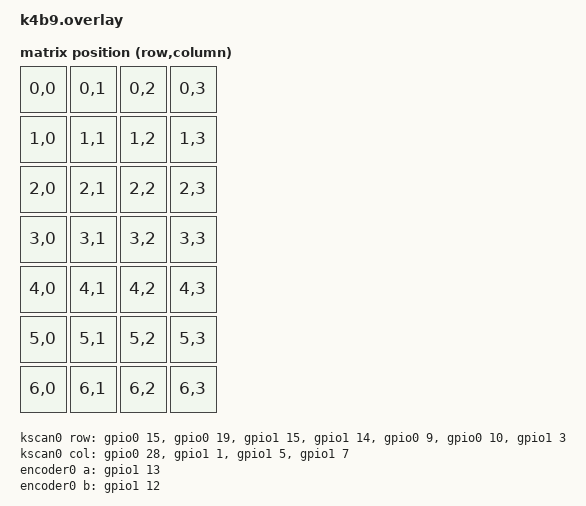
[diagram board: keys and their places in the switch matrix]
#include <dt-bindings/zmk/matrix_transform.h>
#include <dt-bindings/analog-stick/modes.h>
/ {
    chosen {
        zmk,kscan = &kscan0;
        zmk,matrix_transform = &default_transform;
    };
    analog_stick0: analog_stick0 {
        compatible = "zmk,analog-stick";

        // Left stick
        // X = P0.02 / AIN0
        // Y = P0.03 / AIN1
        io-channels = <&adc 0>, <&adc 1>;

        // 仮値。実測後に変更する
        x-min = <0>;
        x-center = <2048>;
        x-max = <4095>;

        y-min = <0>;
        y-center = <2048>;
        y-max = <4095>;

        deadzone-percent = <5>;

        wait-period-idle = <100>;
        wait-period-active = <8>;

        status = "okay";
    };

    analog_stick1: analog_stick1 {
        compatible = "zmk,analog-stick";

        // Right stick
        // X = P0.04 / AIN2
        // Y = P0.29 / AIN5
        io-channels = <&adc 2>, <&adc 5>;

        // 仮値。実測後に変更する
        x-min = <0>;
        x-center = <2048>;
        x-max = <4095>;

        y-min = <0>;
        y-center = <2048>;
        y-max = <4095>;

        deadzone-percent = <5>;

        wait-period-idle = <100>;
        wait-period-active = <8>;

        status = "okay";
    };
    analog_stick_listener0: analog_stick_listener0 {
        compatible = "zmk,analog-stick-listener";
        device = <&analog_stick0>;

        layer0 {
            layers = <0>;
            mode = <ANALOG_STICK_MODE_MOUSE>;

            mouse-min-speed = <1>;
            mouse-max-speed = <20>;
        };
    };

    analog_stick_listener1: analog_stick_listener1 {
        compatible = "zmk,analog-stick-listener";
        device = <&analog_stick1>;

        layer0 {
            layers = <0>;
            mode = <ANALOG_STICK_MODE_MOUSE>;

            mouse-min-speed = <1>;
            mouse-max-speed = <20>;
        };
    };
    kscan0: kscan {
        compatible = "zmk,kscan-gpio-matrix";
        diode-direction = "col2row";

        col-gpios
            = <&gpio0 28 GPIO_ACTIVE_HIGH> // Col0 (P0.28)
            , <&gpio1  1 GPIO_ACTIVE_HIGH> // Col1 (P1.01)
            , <&gpio1  5 GPIO_ACTIVE_HIGH> // Col2 (P1.05)
            , <&gpio1  7 GPIO_ACTIVE_HIGH> // Col3 (P1.07)
            ;

        row-gpios
            = <&gpio0 15 (GPIO_ACTIVE_HIGH | GPIO_PULL_DOWN)> // Row0 - Row0L (P0.15)
            , <&gpio0 19 (GPIO_ACTIVE_HIGH | GPIO_PULL_DOWN)> // Row1 - Row1L (P0.19)
            , <&gpio1 15 (GPIO_ACTIVE_HIGH | GPIO_PULL_DOWN)> // Row2 - Row0R (P1.15)
            , <&gpio1 14 (GPIO_ACTIVE_HIGH | GPIO_PULL_DOWN)> // Row3 - Row1R (P1.14)
            , <&gpio0  9 (GPIO_ACTIVE_HIGH | GPIO_PULL_DOWN)> // Row4 - Row2 (P0.09)
            , <&gpio0 10 (GPIO_ACTIVE_HIGH | GPIO_PULL_DOWN)> // Row5 - Row3 (P0.10)
            , <&gpio1 3  (GPIO_ACTIVE_HIGH | GPIO_PULL_DOWN)> // Row6 - Row4 (P1.03)
            ;
    };

    encoder0: encoder0 {
        compatible = "alps,ec11";

        a-gpios = <&gpio1 13 (GPIO_ACTIVE_HIGH | GPIO_PULL_UP)>;
        b-gpios = <&gpio1 12 (GPIO_ACTIVE_HIGH | GPIO_PULL_UP)>;

        steps = <20>;
        status = "okay";
    };
    sensors: sensors {
        compatible = "zmk,keymap-sensors";

        sensors = <&encoder0>;

        triggers-per-rotation = <20>;
    };



    default_transform: matrix_transform {
        compatible = "zmk,matrix-transform";

        rows = <7>;
        columns = <4>;

        map = <
            RC(0,0) RC(0,1) RC(0,2) RC(0,3)
            RC(1,0) RC(1,1) RC(1,2) RC(1,3)
            RC(2,0) RC(2,1) RC(2,2) RC(2,3)
            RC(3,0) RC(3,1) RC(3,2) RC(3,3)
            RC(4,0) RC(4,1) RC(4,2) RC(4,3)
            RC(5,0) RC(5,1) RC(5,2) RC(5,3)
            RC(6,0) RC(6,1) RC(6,2) RC(6,3)
        >;
    };
};
